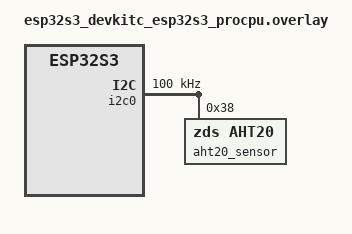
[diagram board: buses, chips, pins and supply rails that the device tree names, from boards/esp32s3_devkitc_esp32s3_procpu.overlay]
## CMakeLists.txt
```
cmake_minimum_required(VERSION 3.20.0)

list(APPEND DTS_ROOT ${CMAKE_CURRENT_SOURCE_DIR})   # also search this project's dts/bindings

find_package(Zephyr REQUIRED HINTS $ENV{ZEPHYR_BASE})
project(aht20_driver_example)

target_sources(app PRIVATE src/main.c)

# NOTE: the driver source is added directly to the "app" target instead of
# its own zephyr_library(), because zephyr_library() called via
# add_subdirectory() from an application's CMakeLists.txt runs in
# "application mode" - at that point Zephyr's library list is already
# finalized, so the library becomes a silent no-op and never gets linked
# (it still compiles, but undefined reference errors show up at link time).
target_sources_ifdef(CONFIG_AHT20 app PRIVATE drivers/sensor/aht20/aht20.c)
```

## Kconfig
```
source "Kconfig.zephyr"
rsource "drivers/sensor/aht20/Kconfig"
```

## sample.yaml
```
sample:
  description: Custom out-of-tree AHT20 I2C temperature/humidity sensor driver (Zephyr sensor API)
  name: aht20_driver_example
common:
  tags:
    - i2c
    - sensor
tests:
  sample.sensor.aht20_driver_example:
    platform_allow:
      - esp32s3_devkitc/esp32s3/procpu
    harness: console
    harness_config:
      type: one_line
      regex:
        - "Temperature: (.*) C, Humidity: (.*) %"
```

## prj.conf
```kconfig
CONFIG_I2C=y
CONFIG_SENSOR=y
CONFIG_AHT20=y
CONFIG_LOG=y
```

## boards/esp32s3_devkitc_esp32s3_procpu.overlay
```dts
/*
 * ESP32-S3-DevKitC-1: enable I2C0 and declare the AHT20 sensor on it.
 *
 * The board's own pinctrl (esp32s3-devkitc-pinctrl.dtsi, part of the
 * upstream Zephyr board definition) already wires i2c0_default to
 * SDA = GPIO1 / SCL = GPIO2 and sets pinctrl-0 / pinctrl-names on
 * &i2c0 - the SoC-level node just ships "status = disabled" by
 * default, so this overlay only needs to flip it on and add the
 * sensor child node.
 *
 * NOTE: this file replaces boards/sr100_rdk_sr100_m55.overlay, which
 * was mistakenly left in this lab from a different (SR100 RDK) board
 * - it targeted &i2c1 there and does not apply to the ESP32-S3 at
 * all. This overlay matches what 23_CUSTOM_DEVICE_DRIVER_LAB_KR.md /
 * _EN.md Step 5 actually documents.
 *
 * If you also enable Lab 24 (SSD1306 display, also on &i2c0) at the
 * same time, merge both overlays into a single &i2c0 block instead of
 * shipping two separate ones for the same node.
 */

&i2c0 {
	status = "okay";
	clock-frequency = <100000>;

	aht20_sensor: aht20@38 {
		compatible = "zds,aht20";
		reg = <0x38>;
		status = "okay";
	};
};
```

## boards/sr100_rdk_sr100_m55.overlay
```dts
&i2c1 {
    aht20_sensor: aht20@38 {
        compatible = "zds,aht20";
        reg = <0x38>;
        status = "okay";
    };
};
```

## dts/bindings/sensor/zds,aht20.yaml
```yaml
description: AHT20 I2C temperature and humidity sensor

compatible: "zds,aht20"

include: i2c-device.yaml
```

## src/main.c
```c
#include <zephyr/kernel.h>
#include <zephyr/device.h>
#include <zephyr/drivers/sensor.h>

int main(void) {
    const struct device *aht20 = DEVICE_DT_GET_ANY(zds_aht20);

    if (aht20 == NULL || !device_is_ready(aht20)) {
        printk("AHT20 device not ready\n");
        return 0;
    }

    while (1) {
        struct sensor_value temp, humidity;

        sensor_sample_fetch(aht20);
        sensor_channel_get(aht20, SENSOR_CHAN_AMBIENT_TEMP, &temp);
        sensor_channel_get(aht20, SENSOR_CHAN_HUMIDITY, &humidity);

        printk("Temperature: %d.%03d C, Humidity: %d.%03d %%\n",
               temp.val1, temp.val2 / 1000,
               humidity.val1, humidity.val2 / 1000);

        k_sleep(K_SECONDS(2));
    }
    return 0;
}
```
